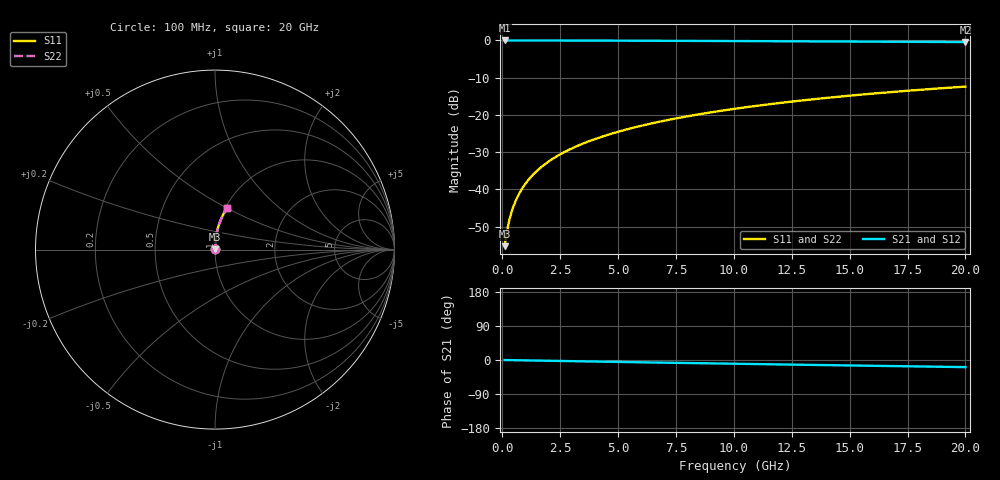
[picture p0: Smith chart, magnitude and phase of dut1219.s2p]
! Touchstone file exported from HFSS 2024.1.0
!  File:  C:/UserFiles/LocalFiles/RDL_TSV_Batchsim/temp_RDL_top_1219_1780240143.aedt
!  Generated:  11:11:45 PM May 31, 2026
!  Design:  RDL_top
!  Project:  temp_RDL_top_1219_1780240143
!  Setup:  Setup1
!  Solution:  Sweep
! Variables:
!  dtsv = 10.80580581um
!  hbump = 3um
!  htsv = 95.6um
!  ldown = 100um
!  lrdl = 196.2um
!  p = 40
!  p1 = 56.87um
!  rhole = 1um
!  t = 450um
!  tdown = 3.915915916um
!  trdl = 4.21um
!  wdown = 15.38538539um
!  wrdl = 15.24um
# GHz S MA R 50.000000
! Terminal data exported
! Port[1] = Box2_T1
! Port[2] = Box2_T2
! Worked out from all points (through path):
!   200 points, 100 MHz to 20 GHz, reference 50 ohm
!   highest |S21| = -0.01 dB at 100 MHz (marker M1); lowest = -0.4 dB at 20 GHz (marker M2)
!   group delay of S21, straight-line fit = 2.6 ps
!   lowest |S11| = -55.2 dB at 100 MHz (marker M3), VSWR 1.00, Z = 50.1 + j0.123 ohm
!   |S11| at or under -10 dB: start of sweep to end of sweep
!   |S22| runs from -55.2 to -12.4 dB; largest |S21 - S12| = 4.6e-15
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0.1  0.001733 45.0  0.9988 -0.1  0.9988 -0.1  0.001733 45.0
! Gamma 0 0 0 0
! Port Impedance 50 0 50 0
0.2  0.002741 62.7  0.9987 -0.2  0.9987 -0.2  0.002741 62.7
0.3  0.003851 70.3  0.9987 -0.3  0.9987 -0.3  0.003851 70.3
0.4  0.004987 74.5  0.9986 -0.4  0.9986 -0.4  0.004987 74.5
0.5  0.006134 77.2  0.9986 -0.5  0.9986 -0.5  0.006134 77.2
0.6  0.007287 79.0  0.9985 -0.6  0.9985 -0.6  0.007287 79.0
0.8  0.009605 81.4  0.9984 -0.8  0.9984 -0.8  0.009605 81.4
1.1  0.01311 83.3  0.9983 -1.2  0.9983 -1.2  0.01311 83.3
1.5  0.0178 84.7  0.998 -1.6  0.998 -1.6  0.0178 84.7
1.8  0.02133 85.2  0.9977 -1.9  0.9977 -1.9  0.02133 85.2
2.1  0.02487 85.6  0.9974 -2.2  0.9974 -2.2  0.02487 85.6
2.7  0.03197 85.9  0.9967 -2.8  0.9967 -2.8  0.03197 85.9
3.5  0.04147 86.0  0.9956 -3.6  0.9956 -3.6  0.04148 86.0
4.2  0.04984 85.9  0.9944 -4.3  0.9944 -4.3  0.04984 85.9
5  0.05945 85.6  0.9928 -5.1  0.9928 -5.1  0.05945 85.6
5.9  0.07032 85.2  0.9909 -6.0  0.9909 -6.0  0.07033 85.2
6.8  0.08126 84.7  0.9889 -6.9  0.9889 -6.9  0.08127 84.7
8.3  0.0996 83.7  0.9852 -8.3  0.9852 -8.3  0.09961 83.7
10.1  0.1217 82.3  0.9805 -10.0  0.9805 -10.0  0.1217 82.3
13.4  0.1621 79.5  0.9712 -13.0  0.9712 -13.0  0.1621 79.5
16.7  0.2017 76.6  0.9611 -15.9  0.9611 -15.9  0.2017 76.6
20  0.2401 73.6  0.9502 -18.8  0.9502 -18.8  0.2401 73.6
